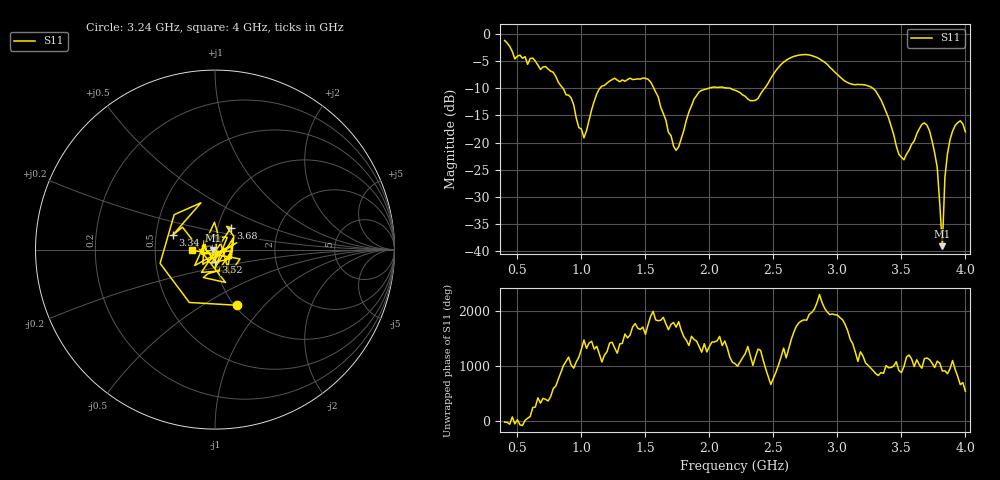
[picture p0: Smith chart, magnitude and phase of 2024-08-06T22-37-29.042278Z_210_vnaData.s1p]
!Created with skrf (http://scikit-rf.org).
# Hz S RI R 50.0
!freq ReS11 ImS11
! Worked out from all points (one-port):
!   181 points, 400 MHz to 4 GHz, reference 50 ohm
!   lowest |S11| = -39.1 dB at 3.82 GHz (marker M1), VSWR 1.02, Z = 48.9 - j0.139 ohm
!   |S11| at or under -10 dB: 857.1 MHz to 1.144 GHz (286.5 MHz wide, 28.6 % of centre); 1.567 GHz to 1.99 GHz (423 MHz wide, 23.8 % of centre); 3.279 GHz to end of sweep (the widest 3 of 4)
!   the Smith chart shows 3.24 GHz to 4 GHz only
!   S11 on the Smith chart (normalised r, x): 3.24 GHz: 1.03, -0.72; 3.34 GHz: 0.61, +0.10; 3.52 GHz: 0.99, -0.14; 3.68 GHz: 1.16, +0.29; 4 GHz: 0.78, -0.01
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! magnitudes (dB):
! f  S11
! 400 MHz  -1.1
! 480 MHz  -4.5
! 620 MHz  -4.4
! 860 MHz  -10.1
! 1.02 GHz  -19.1
! 1.14 GHz  -10.1
! 1.3 GHz  -8.8
! 1.54 GHz  -8.8
! 1.72 GHz  -20.7
! 1.76 GHz  -20.8
! 1.92 GHz  -10.6
! 2.2 GHz  -10.3
! 2.36 GHz  -12.2
! 2.66 GHz  -4.1
! 2.84 GHz  -4.3
! 3.1 GHz  -9.1
! 3.24 GHz  -9.5
! 3.34 GHz  -12.1
! 3.52 GHz  -23.2
! 3.56 GHz  -21.4
! 3.68 GHz  -16.4
! 3.72 GHz  -17.8
! 3.78 GHz  -24.6
! 3.82 GHz  -39.1
! 3.84 GHz  -26.4
! 3.88 GHz  -19.5
! 3.96 GHz  -16.0
! 4 GHz  -18.0
